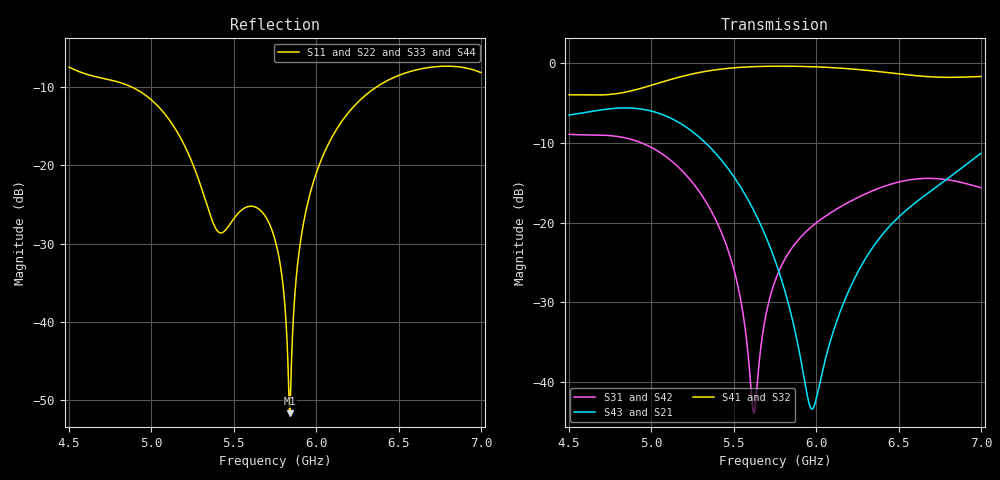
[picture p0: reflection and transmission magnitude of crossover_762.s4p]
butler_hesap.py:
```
# -*- coding: utf-8 -*-
"""
8x8 Butler matrisi hesabi (16 crossover'li duzlemsel yerlesim)
Girdi : s-parametreleri/hibrit_762.s4p ve s-parametreleri/crossover_762.s4p
        crossover dosyasi yoksa, crossover iki hibritin arka arkaya baglanmasiyla hesaplanir.
Cikti : her giris icin sutun genlik/faz tablosu (s-parametreleri/butler_agirliklar_762.txt
        ile ayni degerler), hüzme acisi ve yan lob seviyesi;
        (matplotlib varsa) sonuclar/cst/butler_dizi_carpani.png

Calistirma (proje klasorunden):
             python scriptler/butler_hesap.py          (5.8 GHz)
             python scriptler/butler_hesap.py 5.75     (baska frekans)
Gerekenler:  Python 3 + numpy   (grafik icin matplotlib, istege bagli)
"""
import sys, os
import numpy as np

F0 = float(sys.argv[1]) if len(sys.argv) > 1 else 5.8
ROOT = os.path.dirname(os.path.dirname(os.path.abspath(__file__)))
KLASOR = os.path.join(ROOT, 's-parametreleri')
CIKTI = os.path.join(ROOT, 'sonuclar', 'cst')

# ---------------------------------------------------------------- Touchstone
def oku_s4p(dosya):
    f, S, sayilar = [], [], []
    birim = 1.0
    for satir in open(dosya):
        if satir.strip().startswith('#'):
            u = satir.upper()
            birim = 1.0 if 'GHZ' in u else 1e-3 if 'MHZ' in u else 1e-9 if 'HZ' in u else 1.0
            continue
        satir = satir.split('!')[0].strip()
        if satir:
            sayilar += [float(x) for x in satir.split()]
    for i in range(0, len(sayilar), 33):
        r = sayilar[i:i + 33]
        f.append(r[0] * birim)
        v = np.array(r[1:]).reshape(16, 2)
        S.append((v[:, 0] * np.exp(1j * np.deg2rad(v[:, 1]))).reshape(4, 4))
    return np.array(f), np.array(S)

def iki_hibritten_crossover(SA, SB, hat_derece=90.0):
    """A'nin 3,4 portlari -> B'nin 1,2 portlarina ideal 50 ohm hatla bagli."""
    S = np.zeros((8, 8), complex); S[:4, :4] = SA; S[4:, 4:] = SB
    t = np.exp(-1j * np.deg2rad(hat_derece))
    dis, ic = [0, 1, 6, 7], [2, 3, 4, 5]
    C = np.zeros((4, 4), complex); C[0, 2] = C[2, 0] = t; C[1, 3] = C[3, 1] = t
    See = S[np.ix_(dis, dis)]; Sei = S[np.ix_(dis, ic)]
    Sie = S[np.ix_(ic, dis)]; Sii = S[np.ix_(ic, ic)]
    return See + Sei @ C @ np.linalg.solve(np.eye(4) - Sii @ C, Sie)

fh, Sh = oku_s4p(os.path.join(KLASOR, 'hibrit_762.s4p'))
k = np.argmin(abs(fh - F0)); H = Sh[k]
xdosya = os.path.join(KLASOR, 'crossover_762.s4p')
if os.path.exists(xdosya):
    fx, Sx = oku_s4p(xdosya); X = Sx[np.argmin(abs(fx - F0))]; kaynak = 'crossover_762.s4p (CST)'
else:
    X = iki_hibritten_crossover(H, H, 90 * F0 / 5.8); kaynak = 'iki hibritten hesaplandi'

db = lambda x: 20 * np.log10(abs(x))
print("Frekans: %.3f GHz" % fh[k])
print("Hibrit : S31 %.2f dB, S41 %.2f dB, faz farki %.1f derece" %
      (db(H[2, 0]), db(H[3, 0]), (np.angle(H[2, 0] / H[3, 0], deg=True))))
print("Crossover (%s): capraz %.2f dB, duz sizinti S31 %.1f dB, S11 %.1f dB" %
      (kaynak, db(X[3, 0]), db(X[2, 0]), db(X[0, 0])))

# ---------------------------------------------------------------- Yerlesim plani
S1 = [(0, 4), (1, 5), (2, 6), (3, 7)]
S2 = [(0, 2), (1, 3), (4, 6), (5, 7)]
S3 = [(0, 1), (2, 3), (4, 5), (6, 7)]
GIRIS_SIRASI = [0, 4, 2, 6, 1, 5, 3, 7]          # soldan saga fiziksel giris sirasi
PLAN = [  # (kat adi, hibrit ciftleri, o katmandan once yapilacak crossover katmanlari)
    ("kat1", S1, []),
    ("kat2", S2, [[1, 3, 5], [2, 4], [3]]),        # pozisyon indeksleri (0'dan) : p <-> p+1
    ("kat3", S3, [[1, 5]]),
    ("cikis", None, [[1, 3, 5], [2, 4], [1, 3, 5]]),
]
GEC12 = np.array([90, 90, 0, 0, 0, 45, 0, 45.])     # hat etiketine gore gecikme (derece)
GEC23 = np.array([90, 0, 0, 0, 90, 0, 0, 0.])
GEC_SUTUN = np.array([0, 22.5, 45, 67.5, 0, 22.5, 45, 67.5])

def butler(H, X, f=F0):
    T = H[2:, :2]; Xc = X[2:, :2]
    telafi = np.exp(1j * np.angle(X[3, 0]))          # crossover'dan gecmeyen hatlara esit faz
    M = np.zeros((8, 8), complex)
    for giris in range(8):
        v = np.zeros(8, complex); lab = list(GIRIS_SIRASI)
        v[lab.index(giris)] = 1
        for ad, ciftler, katmanlar in PLAN:
            for sw in katmanlar:
                nv = v * telafi; nl = lab[:]
                for p in sw:
                    a, b = v[p], v[p + 1]
                    nv[p] = Xc[0, 0] * a + Xc[0, 1] * b
                    nv[p + 1] = Xc[1, 0] * a + Xc[1, 1] * b
                    nl[p], nl[p + 1] = lab[p + 1], lab[p]
                v, lab = nv, nl
            if ciftler is None:
                break
            idx = {l: i for i, l in enumerate(lab)}
            for p, q in ciftler:
                a, b = idx[p], idx[q]; x, y = v[a], v[b]
                v[a] = T[0, 0] * x + T[0, 1] * y; v[b] = T[1, 0] * x + T[1, 1] * y
            g = {"kat1": GEC12, "kat2": GEC23, "kat3": np.zeros(8)}[ad]
            v = v * np.exp(-1j * np.deg2rad(np.array([g[l] for l in lab]) * f / 5.8))
        M[:, giris] = v * np.exp(-1j * np.deg2rad(GEC_SUTUN * f / 5.8))
    return M

M = butler(H, X)

# ---------------------------------------------------------------- Sonuclar
th = np.linspace(-90, 90, 3601); n = np.arange(8)
def huzme(w):
    af = np.abs(np.exp(1j * np.pi * np.outer(np.sin(np.deg2rad(th)), n)) @ w)
    af = 20 * np.log10(af / af.max() + 1e-12)
    tepe = th[np.argmax(af)]
    yerel = [af[i] for i in range(1, len(af) - 1) if af[i] > af[i - 1] and af[i] > af[i + 1]]
    yl = sorted(yerel)[-2] if len(yerel) > 1 else -99
    return tepe, yl, af

hedef = {0: 22.5, 1: 67.5, 2: 112.5, 3: 157.5, 4: -157.5, 5: -112.5, 6: -67.5, 7: -22.5}
print("\nGiris | genlik araligi (dB) | ort. faz adimi | faz sapmasi | huzme | yan lob")
egriler = []
for i in range(8):
    w = M[:, i]; a = db(w)
    d = np.diff(np.angle(w, deg=True)); d = (d + 180) % 360 - 180
    tepe, yl, af = huzme(w); egriler.append(af)
    print("  %d   | %6.2f .. %6.2f     | %7.1f        | +/-%5.1f     | %6.1f | %5.1f dB"
          % (i + 1, a.min(), a.max(), d.mean(), np.abs(d - d.mean()).max(), tepe, yl))

print("\nCST Farfield Array 'Userdefined' icin sutun genlik/faz degerleri")
print("(X = (sutun-1)*25.9 mm, Y = 0, Z = 0; genlik en buyuge gore normalize)")
for i in range(8):
    w = M[:, i]; a = abs(w) / abs(w).max(); p = np.angle(w, deg=True); p = p - p[0]
    p = (p + 180) % 360 - 180
    print("Giris %d:" % (i + 1))
    for c in range(8):
        print("   sutun %d  X=%6.1f  genlik %.3f  faz %7.1f" % (c + 1, c * 25.9, a[c], p[c]))

try:
    import matplotlib; matplotlib.use('Agg'); import matplotlib.pyplot as plt
    plt.figure(figsize=(9, 5))
    for i, af in enumerate(egriler):
        plt.plot(th, af, label='giris %d' % (i + 1))
    plt.ylim(-40, 2); plt.xlim(-90, 90); plt.grid(alpha=.3)
    plt.xlabel('aci (derece)'); plt.ylabel('normalize dizi carpani (dB)')
    plt.title('8x8 Butler, 16 crossover, %.2f GHz' % fh[k]); plt.legend(ncol=4, fontsize=8)
    os.makedirs(CIKTI, exist_ok=True); cikti = os.path.join(CIKTI, 'butler_dizi_carpani.png'); plt.savefig(cikti, dpi=130, bbox_inches='tight')
    print("\nGrafik kaydedildi:", cikti)
except ImportError:
    print("\n(matplotlib yok, grafik cizilmedi)")
```
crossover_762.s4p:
! TOUCHSTONE file generated by CST MICROWAVE STUDIO
! Date and time: Tue Sep 29 18:59:27 2026
! Project name: crossover2h.cst
! Parameters = {Lf=10; a=9.6432; b=9.8112; dx=31.7432; h=0.762; s=1.12; t=0.035; w35=3.44; w50=2.1}
! Header version: 2024
! Port assignment regex: !\s*Touchstone port\s*([0-9]+)\s*=\s*(CST MWS port|CST DES external port|CST DES block port)\s*(.+)\s* \(\"(.*)\"\)(\s*mode\s*([0-9]+))?.*
! Touchstone port assignment:
! Touchstone port 1 = CST MWS port 1 ("")
! Touchstone port 2 = CST MWS port 2 ("")
! Touchstone port 3 = CST MWS port 3 ("")
! Touchstone port 4 = CST MWS port 4 ("")
# GHz S MA R 50
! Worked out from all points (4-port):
!   5001 points, 4.5 GHz to 7 GHz, reference 50 ohm
!   strongest paths, dB at 4.5 GHz, 5.125 GHz, 5.75 GHz, 6.375 GHz, 7 GHz:
!     S41: -4.0, -2.0, -0.4, -1.1, -1.7
!     S32: -4.0, -2.0, -0.4, -1.1, -1.7
!     S43: -6.5, -7.0, -24.7, -22.2, -11.3
!     S21: -6.5, -7.0, -24.7, -22.2, -11.3
!     S31: -8.9, -12.3, -27.3, -15.7, -15.6
!     S42: -8.9, -12.3, -27.3, -15.7, -15.6
!   lowest |S11| = -51.7 dB at 5.84 GHz (marker M1), VSWR 1.01, Z = 50.3 + j0.00638 ohm
!   |S11| at or under -10 dB: 4.879 GHz to 6.367 GHz (1.488 GHz wide, 26.5 % of centre)
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4.5  0.423 -55.4  0.4722 120.2  0.3581 162.0  0.6324 -174.3
     0.4722 120.2  0.423 -55.4  0.6324 -174.3  0.358 162.0
     0.3581 162.0  0.6324 -174.3  0.423 -55.4  0.4722 120.2
     0.6324 -174.3  0.358 162.0  0.4722 120.2  0.423 -55.4
5.8395  0.002604 1.4  0.02885 -83.2  0.0663 77.2  0.956 -1.6
        0.02885 -83.2  0.00259 1.9  0.956 -1.6  0.0663 77.2
        0.0663 77.2  0.956 -1.6  0.002599 1.8  0.02885 -83.3
        0.956 -1.6  0.0663 77.2  0.02885 -83.3  0.002579 1.3
7  0.3905 -83.7  0.2722 87.4  0.1657 -125.0  0.8245 -165.5
   0.2722 87.4  0.3905 -83.7  0.8245 -165.5  0.1656 -125.0
   0.1657 -125.0  0.8245 -165.5  0.3905 -83.7  0.2722 87.4
   0.8245 -165.5  0.1656 -125.0  0.2722 87.4  0.3905 -83.7
